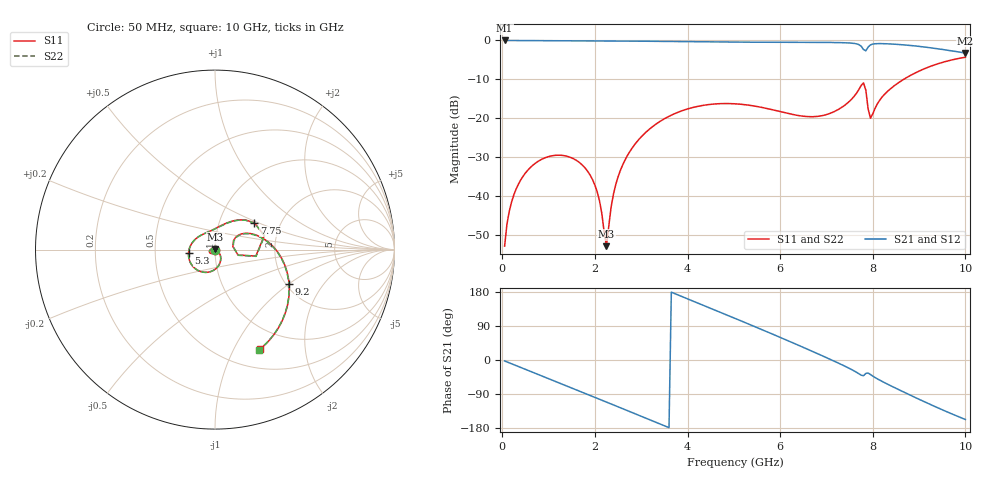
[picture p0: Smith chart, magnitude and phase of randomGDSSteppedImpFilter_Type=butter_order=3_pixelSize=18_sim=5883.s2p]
! freq	dB(S11)	phase(S11)	dB(S12)	phase(S12)
!  dB(S21)	phase(S21)	dB(S22)	phase(S22)
!S-par simulation data
#  GHz  S  DB  R 50
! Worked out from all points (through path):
!   200 points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, 50 MHz to 10 GHz, reference 50 ohm
!   highest |S21| = 0.00 dB at 50 MHz (marker M1); lowest = -3.2 dB at 10 GHz (marker M2)
!   group delay of S21, straight-line fit = 143 ps
!   lowest |S11| = -52.8 dB at 2.25 GHz (marker M3), VSWR 1.00, Z = 50.1 + j0.205 ohm
!   |S11| at or under -10 dB: start of sweep to 8.664 GHz
!   |S22| runs from -52.7 to -4.3 dB; largest |S21 - S12| = 0
!   S11 on the Smith chart (normalised r, x): 50 MHz: 1.00, -0.00; 5.3 GHz: 0.74, -0.03; 7.75 GHz: 1.47, +0.47; 9.2 GHz: 2.08, -1.00; 10 GHz: 0.72, -1.27
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0.05  -52.73 -86.6  -0.00 -2.5  -0.00 -2.5  -52.73 -86.6
0.25  -39.58 -100.9  -0.02 -12.4  -0.02 -12.4  -39.58 -101.0
0.6  -32.65 -120.4  -0.04 -29.6  -0.04 -29.6  -32.65 -120.4
1.2  -29.42 -151.3  -0.07 -59.1  -0.07 -59.1  -29.42 -151.4
1.75  -32.21 179.5  -0.10 -86.3  -0.10 -86.3  -32.20 179.2
2.05  -38.86 159.1  -0.11 -101.1  -0.11 -101.1  -38.83 158.2
2.25  -52.76 62.8  -0.13 -111.0  -0.13 -111.0  -52.15 62.9
2.4  -39.43 -17.9  -0.14 -118.5  -0.14 -118.5  -39.40 -16.9
2.6  -31.91 -34.1  -0.15 -128.5  -0.15 -128.5  -31.90 -33.6
3.4  -20.80 -77.3  -0.24 -168.5  -0.24 -168.5  -20.80 -77.1
4.15  -17.09 -115.1  -0.35 153.9  -0.35 153.9  -17.09 -115.0
5.05  -16.27 -160.2  -0.44 108.6  -0.44 108.6  -16.27 -160.4
5.3  -16.56 -173.0  -0.45 95.9  -0.45 95.9  -16.57 -173.2
5.95  -18.10 153.2  -0.45 62.3  -0.45 62.3  -18.11 152.7
6.7  -19.56 112.0  -0.47 22.6  -0.47 22.6  -19.56 111.1
7.3  -17.39 77.4  -0.56 -10.6  -0.56 -10.6  -17.39 76.4
7.75  -11.53 34.3  -1.49 -40.1  -1.49 -40.1  -11.51 33.8
7.85  -12.75 -9.0  -2.66 -35.4  -2.66 -35.4  -12.69 -9.3
7.95  -19.92 9.8  -1.14 -38.3  -1.14 -38.3  -19.80 8.8
8.35  -12.72 21.7  -0.88 -65.7  -0.88 -65.7  -12.71 21.0
9.2  -6.85 -24.8  -1.81 -114.9  -1.81 -114.9  -6.85 -25.2
10  -4.30 -65.8  -3.22 -157.0  -3.22 -157.0  -4.30 -66.1
